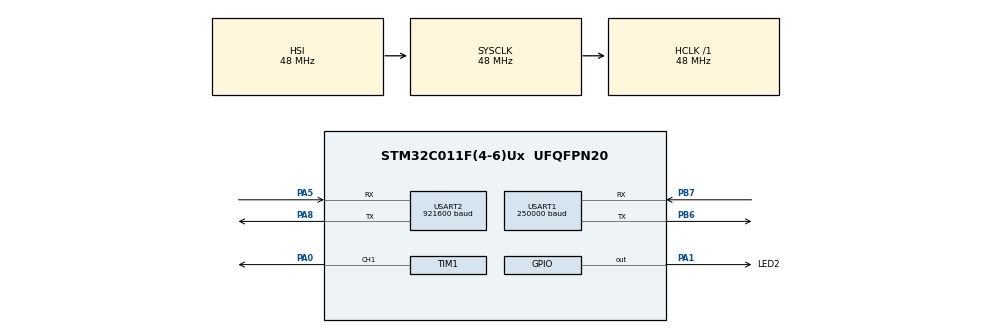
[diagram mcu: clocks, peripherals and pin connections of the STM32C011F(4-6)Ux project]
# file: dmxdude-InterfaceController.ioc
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Dma.Request0=USART2_TX
Dma.USART2_TX.0.Direction=DMA_MEMORY_TO_PERIPH
Dma.USART2_TX.0.EventEnable=DISABLE
Dma.USART2_TX.0.Instance=DMA1_Channel1
Dma.USART2_TX.0.MemDataAlignment=DMA_MDATAALIGN_BYTE
Dma.USART2_TX.0.MemInc=DMA_MINC_ENABLE
Dma.USART2_TX.0.Mode=DMA_NORMAL
Dma.USART2_TX.0.PeriphDataAlignment=DMA_PDATAALIGN_BYTE
Dma.USART2_TX.0.PeriphInc=DMA_PINC_DISABLE
Dma.USART2_TX.0.Polarity=HAL_DMAMUX_REQ_GEN_RISING
Dma.USART2_TX.0.Priority=DMA_PRIORITY_MEDIUM
Dma.USART2_TX.0.RequestNumber=1
Dma.USART2_TX.0.SignalID=NONE
Dma.USART2_TX.0.SyncEnable=DISABLE
Dma.USART2_TX.0.SyncPolarity=HAL_DMAMUX_SYNC_NO_EVENT
Dma.USART2_TX.0.SyncRequestNumber=1
Dma.USART2_TX.0.SyncSignalID=NONE
Mcu.Family=STM32C0
Mcu.Name=STM32C011F(4-6)Ux
Mcu.Package=UFQFPN20
NVIC.DMA1_Channel1_IRQn=true\:0\:0\:false\:false\:true\:false\:true\:true
NVIC.TIM14_IRQn=true\:0\:0\:false\:false\:true\:true\:true\:true
NVIC.USART2_IRQn=true\:0\:0\:false\:false\:true\:true\:true\:true
PA0.Signal=S_TIM1_CH1
PA1.GPIO_Label=LED2
PA1.Signal=GPIO_Output
PA13.Mode=Serial_Wire
PA13.Signal=DEBUG_SWDIO
PA14-BOOT0.Mode=Serial_Wire
PA14-BOOT0.Signal=DEBUG_SWCLK
PA5.Mode=Asynchronous
PA5.Signal=USART2_RX
PA8.Mode=Asynchronous
PA8.Signal=USART2_TX
PB6.Mode=LIN
PB6.Signal=USART1_TX
PB7.Mode=LIN
PB7.Signal=USART1_RX
ProjectManager.HeapSize=0x200
ProjectManager.StackSize=0x400
ProjectManager.TargetToolchain=STM32CubeIDE
RCC.ADCFreq_Value=48000000
RCC.AHBFreq_Value=48000000
RCC.CortexFreq_Value=48000000
RCC.EXTERNAL_CLOCK_VALUE=12288000
RCC.HCLKFreq_Value=48000000
RCC.HSE_VALUE=8000000
RCC.HSISYSCLKDivider=RCC_HSI_DIV1
RCC.HSI_VALUE=48000000
RCC.LSE_VALUE=32768
RCC.SYSCLKFreq_VALUE=48000000
SH.S_TIM1_CH1.0=TIM1_CH1,PWM Generation1 CH1
TIM1.Channel-PWM\ Generation1\ CH1=TIM_CHANNEL_1
TIM1.Period=1000
TIM1.Pulse-PWM\ Generation1\ CH1=10
TIM14.Period=480
USART1.BaudRate=250000
USART1.BreakDetectLength=UART_LINBREAKDETECTLENGTH_10B
USART1.StopBits=STOPBITS_2
USART1.VirtualMode-LIN=VM_LIN
USART2.BaudRate=921600
USART2.VirtualMode-Asynchronous=VM_ASYNC
VP_TIM14_VS_ClockSourceINT.Mode=Enable_Timer
board=custom

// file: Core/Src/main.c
/* USER CODE BEGIN Header */
/**
 ******************************************************************************
 * @file           : main.c
 * @brief          : Main program body
 ******************************************************************************
 * @attention
 *
 * Copyright (c) 2025 STMicroelectronics.
 * All rights reserved.
 *
 * This software is licensed under terms that can be found in the LICENSE file
 * in the root directory of this software component.
 * If no LICENSE file comes with this software, it is provided AS-IS.
 *
 ******************************************************************************
 */
/* USER CODE END Header */
#include "main.h"

/* USER CODE BEGIN Includes */
#include "dmx512.h"
#include "cobs.h"
/* USER CODE END Includes */

/* USER CODE BEGIN PD */
// Add 1 to ensure space for the extra zero delimiter after COBS encoding
#define USART2_TX_BUF_SIZE (COBS_ENCODE_DST_BUF_LEN_MAX(DMX512_DATA_SIZE + 1) + 1)
uint8_t usart2_tx_buf[USART2_TX_BUF_SIZE];
volatile uint8_t usart2_tx_busy = 0;
/* USER CODE END PD */

TIM_HandleTypeDef htim1;
TIM_HandleTypeDef htim14;

UART_HandleTypeDef huart1;
UART_HandleTypeDef huart2;
DMA_HandleTypeDef hdma_usart2_tx;

/* USER CODE BEGIN PV */

uint32_t main_loop_count = 0;
uint32_t main_loop_freq = 0; // main loop frequency in Hz

uint32_t timer_isr_count = 0;
uint32_t timer_isr_freq = 0; // timer isr frequency in Hz

uint32_t freq_monitor_start = 0;

DMX512_Frame *current_frame = NULL;

// Track time of last DMX frame
uint32_t last_dmx_frame_time = 0;
uint8_t led1_blink_state = 0;
uint32_t led1_blink_start = 0;

/* USER CODE END PV */

void SystemClock_Config(void);
static void MX_GPIO_Init(void);
static void MX_DMA_Init(void);
static void MX_USART1_UART_Init(void);
static void MX_TIM14_Init(void);
static void MX_USART2_UART_Init(void);
static void MX_TIM1_Init(void);

/* USER CODE BEGIN 0 */

void HAL_TIM_PeriodElapsedCallback(TIM_HandleTypeDef *htim) {
	if (htim->Instance == TIM14) {
		timer_isr_count++;
		DMX512_Loop();
	}
}

/* USER CODE END 0 */

int main(void) {

	/* MCU Configuration--------------------------------------------------------*/

	/* Reset of all peripherals, Initializes the Flash interface and the Systick. */
	HAL_Init();

	/* Configure the system clock */
	SystemClock_Config();

	/* Initialize all configured peripherals */
	MX_GPIO_Init();
	MX_DMA_Init();
	MX_USART1_UART_Init();
	MX_TIM14_Init();
	MX_USART2_UART_Init();
	MX_TIM1_Init();
	/* USER CODE BEGIN 2 */

	// pull DMX_DE low
//	HAL_GPIO_WritePin(DMX_DE_GPIO_Port, DMX_DE_Pin, 0);
	HAL_GPIO_TogglePin(GPIOA, GPIO_PIN_0);
	DMX512_Init(&huart1);           // Initialize DMX512 with USART1
	HAL_TIM_Base_Start_IT(&htim14); // Start timer interrupt for DMX512 loop
	HAL_TIM_PWM_Start(&htim1, TIM_CHANNEL_1);

	// Send a zero byte over USART2 at boot
	uint8_t zero_byte = 0;
	HAL_UART_Transmit(&huart2, &zero_byte, 1, HAL_MAX_DELAY);

	/* USER CODE END 2 */

	/* Infinite loop */
	while (1) {

		/* USER CODE BEGIN 3 */
		//	  DMX512_Loop();
		main_loop_count++;
		DMX512_Frame *frame;
		if (DMX512_GetFrame(&frame) == 0) {
			current_frame = frame;

			// Update last DMX frame time
			last_dmx_frame_time = HAL_GetTick();

			// Only send if not already transmitting
			if (!usart2_tx_busy && frame->dmx_data_length > 0) {
				// Prepare message: [code=0][dmx_data...]
				uint8_t msg_buf[DMX512_DATA_SIZE + 1];
				msg_buf[0] = 0; // message code
				for (uint16_t i = 0; i < frame->dmx_data_length; ++i) {
					msg_buf[i + 1] = frame->dmx_data[i];
				}
				size_t msg_len = frame->dmx_data_length + 1;

				// COBS encode
				cobs_encode_result enc_res = cobs_encode(usart2_tx_buf, sizeof(usart2_tx_buf), msg_buf, msg_len);
				if (enc_res.status == COBS_ENCODE_OK) {
					// Add zero delimiter after COBS encoding
					usart2_tx_buf[enc_res.out_len] = 0;
					enc_res.out_len++;
					// Send over USART2 using DMA
					usart2_tx_busy = 1;
					HAL_UART_Transmit_DMA(&huart2, usart2_tx_buf, enc_res.out_len);
				}
			}
		}
		if (HAL_GetTick() - freq_monitor_start >= 100) {
			main_loop_freq = main_loop_count;
			main_loop_count = 0;
			timer_isr_freq = timer_isr_count;
			timer_isr_count = 0;
			freq_monitor_start = HAL_GetTick();
		}

		// --- LED1 Blink at 5Hz if DMX data is fresh (<100ms) ---
		if (HAL_GetTick() - last_dmx_frame_time < 100) {
			if (HAL_GetTick() - led1_blink_start > 50) { // 5Hz = 200ms period, 100ms toggle
				led1_blink_start = HAL_GetTick();
				led1_blink_state = !led1_blink_state;
//        HAL_GPIO_WritePin(LED1_GPIO_Port, LED1_Pin, led1_blink_state);
				// set CCR to 0 or 10
				__HAL_TIM_SET_COMPARE(&htim1, TIM_CHANNEL_1, led1_blink_state ? 100 : 0);
			}
		} else {
			// If DMX data is old, turn off LED1
//      HAL_GPIO_WritePin(LED1_GPIO_Port, LED1_Pin, 0);
			__HAL_TIM_SET_COMPARE(&htim1, TIM_CHANNEL_1, 0);
			led1_blink_state = 0;
		}
	}
	/* USER CODE END 3 */
}

void SystemClock_Config(void) {
	RCC_OscInitTypeDef RCC_OscInitStruct = { 0 };
	RCC_ClkInitTypeDef RCC_ClkInitStruct = { 0 };

	__HAL_FLASH_SET_LATENCY(FLASH_LATENCY_1);

	/** Initializes the RCC Oscillators according to the specified parameters
	 * in the RCC_OscInitTypeDef structure.
	 */
	RCC_OscInitStruct.OscillatorType = RCC_OSCILLATORTYPE_HSI;
	RCC_OscInitStruct.HSIState = RCC_HSI_ON;
	RCC_OscInitStruct.HSIDiv = RCC_HSI_DIV1;
	RCC_OscInitStruct.HSICalibrationValue = RCC_HSICALIBRATION_DEFAULT;
	if (HAL_RCC_OscConfig(&RCC_OscInitStruct) != HAL_OK) {
		Error_Handler();
	}

	/** Initializes the CPU, AHB and APB buses clocks
	 */
	RCC_ClkInitStruct.ClockType = RCC_CLOCKTYPE_HCLK | RCC_CLOCKTYPE_SYSCLK | RCC_CLOCKTYPE_PCLK1;
	RCC_ClkInitStruct.SYSCLKSource = RCC_SYSCLKSOURCE_HSI;
	RCC_ClkInitStruct.SYSCLKDivider = RCC_SYSCLK_DIV1;
	RCC_ClkInitStruct.AHBCLKDivider = RCC_HCLK_DIV1;
	RCC_ClkInitStruct.APB1CLKDivider = RCC_APB1_DIV1;

	if (HAL_RCC_ClockConfig(&RCC_ClkInitStruct, FLASH_LATENCY_1) != HAL_OK) {
		Error_Handler();
	}
}

static void MX_TIM1_Init(void) {

	TIM_MasterConfigTypeDef sMasterConfig = { 0 };
	TIM_OC_InitTypeDef sConfigOC = { 0 };
	TIM_BreakDeadTimeConfigTypeDef sBreakDeadTimeConfig = { 0 };

	htim1.Instance = TIM1;
	htim1.Init.Prescaler = 0;
	htim1.Init.CounterMode = TIM_COUNTERMODE_UP;
	htim1.Init.Period = 1000;
	htim1.Init.ClockDivision = TIM_CLOCKDIVISION_DIV1;
	htim1.Init.RepetitionCounter = 0;
	htim1.Init.AutoReloadPreload = TIM_AUTORELOAD_PRELOAD_DISABLE;
	if (HAL_TIM_PWM_Init(&htim1) != HAL_OK) {
		Error_Handler();
	}
	sMasterConfig.MasterOutputTrigger = TIM_TRGO_RESET;
	sMasterConfig.MasterOutputTrigger2 = TIM_TRGO2_RESET;
	sMasterConfig.MasterSlaveMode = TIM_MASTERSLAVEMODE_DISABLE;
	if (HAL_TIMEx_MasterConfigSynchronization(&htim1, &sMasterConfig) != HAL_OK) {
		Error_Handler();
	}
	sConfigOC.OCMode = TIM_OCMODE_PWM1;
	sConfigOC.Pulse = 10;
	sConfigOC.OCPolarity = TIM_OCPOLARITY_HIGH;
	sConfigOC.OCNPolarity = TIM_OCNPOLARITY_HIGH;
	sConfigOC.OCFastMode = TIM_OCFAST_DISABLE;
	sConfigOC.OCIdleState = TIM_OCIDLESTATE_RESET;
	sConfigOC.OCNIdleState = TIM_OCNIDLESTATE_RESET;
	if (HAL_TIM_PWM_ConfigChannel(&htim1, &sConfigOC, TIM_CHANNEL_1) != HAL_OK) {
		Error_Handler();
	}
	sBreakDeadTimeConfig.OffStateRunMode = TIM_OSSR_DISABLE;
	sBreakDeadTimeConfig.OffStateIDLEMode = TIM_OSSI_DISABLE;
	sBreakDeadTimeConfig.LockLevel = TIM_LOCKLEVEL_OFF;
	sBreakDeadTimeConfig.DeadTime = 0;
	sBreakDeadTimeConfig.BreakState = TIM_BREAK_DISABLE;
	sBreakDeadTimeConfig.BreakPolarity = TIM_BREAKPOLARITY_HIGH;
	sBreakDeadTimeConfig.BreakFilter = 0;
	sBreakDeadTimeConfig.BreakAFMode = TIM_BREAK_AFMODE_INPUT;
	sBreakDeadTimeConfig.Break2State = TIM_BREAK2_DISABLE;
	sBreakDeadTimeConfig.Break2Polarity = TIM_BREAK2POLARITY_HIGH;
	sBreakDeadTimeConfig.Break2Filter = 0;
	sBreakDeadTimeConfig.Break2AFMode = TIM_BREAK_AFMODE_INPUT;
	sBreakDeadTimeConfig.AutomaticOutput = TIM_AUTOMATICOUTPUT_DISABLE;
	if (HAL_TIMEx_ConfigBreakDeadTime(&htim1, &sBreakDeadTimeConfig) != HAL_OK) {
		Error_Handler();
	}
	HAL_TIM_MspPostInit(&htim1);

}

static void MX_TIM14_Init(void) {

	htim14.Instance = TIM14;
	htim14.Init.Prescaler = 0;
	htim14.Init.CounterMode = TIM_COUNTERMODE_UP;
	htim14.Init.Period = 480;
	htim14.Init.ClockDivision = TIM_CLOCKDIVISION_DIV1;
	htim14.Init.AutoReloadPreload = TIM_AUTORELOAD_PRELOAD_DISABLE;
	if (HAL_TIM_Base_Init(&htim14) != HAL_OK) {
		Error_Handler();
	}

}

static void MX_USART1_UART_Init(void) {

	huart1.Instance = USART1;
	huart1.Init.BaudRate = 250000;
	huart1.Init.WordLength = UART_WORDLENGTH_8B;
	huart1.Init.StopBits = UART_STOPBITS_2;
	huart1.Init.Parity = UART_PARITY_NONE;
	huart1.Init.Mode = UART_MODE_TX_RX;
	huart1.Init.HwFlowCtl = UART_HWCONTROL_NONE;
	huart1.Init.OverSampling = UART_OVERSAMPLING_16;
	huart1.Init.OneBitSampling = UART_ONE_BIT_SAMPLE_DISABLE;
	huart1.Init.ClockPrescaler = UART_PRESCALER_DIV1;
	huart1.AdvancedInit.AdvFeatureInit = UART_ADVFEATURE_NO_INIT;
	if (HAL_LIN_Init(&huart1, UART_LINBREAKDETECTLENGTH_10B) != HAL_OK) {
		Error_Handler();
	}
	if (HAL_UARTEx_SetTxFifoThreshold(&huart1, UART_TXFIFO_THRESHOLD_1_8) != HAL_OK) {
		Error_Handler();
	}
	if (HAL_UARTEx_SetRxFifoThreshold(&huart1, UART_RXFIFO_THRESHOLD_1_8) != HAL_OK) {
		Error_Handler();
	}
	if (HAL_UARTEx_DisableFifoMode(&huart1) != HAL_OK) {
		Error_Handler();
	}

}

static void MX_USART2_UART_Init(void) {

	huart2.Instance = USART2;
	huart2.Init.BaudRate = 921600;
	huart2.Init.WordLength = UART_WORDLENGTH_8B;
	huart2.Init.StopBits = UART_STOPBITS_1;
	huart2.Init.Parity = UART_PARITY_NONE;
	huart2.Init.Mode = UART_MODE_TX_RX;
	huart2.Init.HwFlowCtl = UART_HWCONTROL_NONE;
	huart2.Init.OverSampling = UART_OVERSAMPLING_16;
	huart2.Init.OneBitSampling = UART_ONE_BIT_SAMPLE_DISABLE;
	huart2.Init.ClockPrescaler = UART_PRESCALER_DIV1;
	huart2.AdvancedInit.AdvFeatureInit = UART_ADVFEATURE_NO_INIT;
	if (HAL_UART_Init(&huart2) != HAL_OK) {
		Error_Handler();
	}

}

static void MX_DMA_Init(void) {

	/* DMA controller clock enable */
	__HAL_RCC_DMA1_CLK_ENABLE();

	/* DMA interrupt init */
	/* DMA1_Channel1_IRQn interrupt configuration */
	HAL_NVIC_SetPriority(DMA1_Channel1_IRQn, 0, 0);
	HAL_NVIC_EnableIRQ(DMA1_Channel1_IRQn);

}

static void MX_GPIO_Init(void) {
	GPIO_InitTypeDef GPIO_InitStruct = { 0 };

	/* GPIO Ports Clock Enable */
	__HAL_RCC_GPIOA_CLK_ENABLE();
	__HAL_RCC_GPIOB_CLK_ENABLE();

	/*Configure GPIO pin Output Level */
	HAL_GPIO_WritePin(LED2_GPIO_Port, LED2_Pin, GPIO_PIN_RESET);

	/*Configure GPIO pin : LED2_Pin */
	GPIO_InitStruct.Pin = LED2_Pin;
	GPIO_InitStruct.Mode = GPIO_MODE_OUTPUT_PP;
	GPIO_InitStruct.Pull = GPIO_NOPULL;
	GPIO_InitStruct.Speed = GPIO_SPEED_FREQ_LOW;
	HAL_GPIO_Init(LED2_GPIO_Port, &GPIO_InitStruct);

}

/* USER CODE BEGIN 4 */

// DMA transmit complete callback for USART2
void HAL_UART_TxCpltCallback(UART_HandleTypeDef *huart) {
	if (huart->Instance == USART2) {
		usart2_tx_busy = 0;
	}
}

/* USER CODE END 4 */

void Error_Handler(void) {
	__disable_irq();
	while (1) {
	}
}
